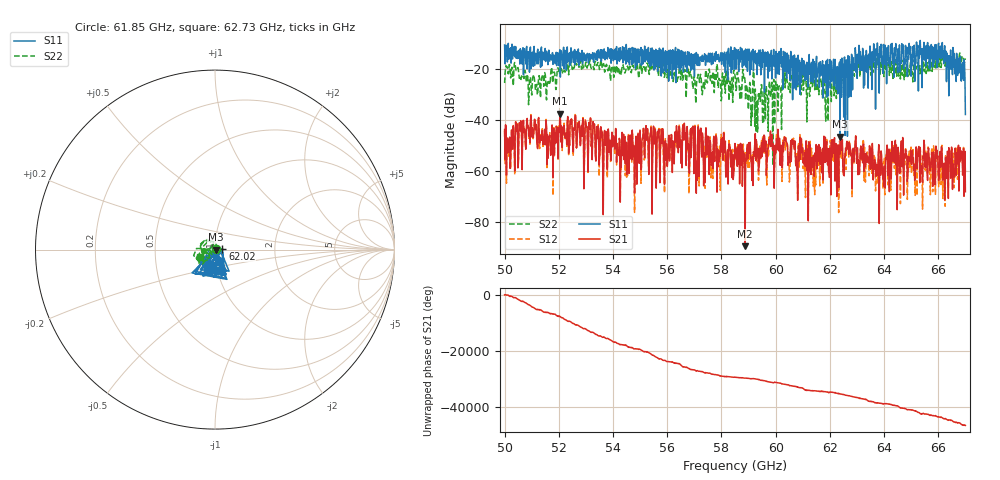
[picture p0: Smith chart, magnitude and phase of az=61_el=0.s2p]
!Created with skrf (http://scikit-rf.org).
# GHz S RI R 50.0
!freq ReS11 ImS11 ReS21 ImS21 ReS12 ImS12 ReS22 ImS22
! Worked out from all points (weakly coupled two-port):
!   1001 points, 50 GHz to 67 GHz, reference 50 ohm
!   highest |S21| = -37.64 dB at 52.04 GHz (marker M1); lowest = -89.7 dB at 58.87 GHz (marker M2)
!   lowest |S11| = -46.7 dB at 62.38 GHz (marker M3), VSWR 1.01, Z = 50.5 - j0.0246 ohm
!   |S11| at or under -10 dB: 50.14 GHz to 63.75 GHz (13.62 GHz wide, 23.9 % of centre); 64.3 GHz to 64.93 GHz (628.8 MHz wide, 0.973 % of centre); 66.15 GHz to end of sweep (the widest 3 of 11)
!   |S22| runs from -57.8 to -13.7 dB; largest |S21 - S12| = 0.0025
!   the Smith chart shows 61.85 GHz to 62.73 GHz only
!   S11 on the Smith chart (normalised r, x): 61.85 GHz: 0.91, -0.18; 62.02 GHz: 1.09, +0.01; 62.73 GHz: 1.04, -0.24
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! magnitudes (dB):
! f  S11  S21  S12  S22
! 50 GHz  -10.6  -43.8  -44.4  -25.5
! 52.04 GHz  -12.5  -37.6  -37.7  -21.4
! 52.84 GHz  -14.3  -42.2  -42.6  -20.1
! 54.22 GHz  -11.9  -54.0  -52.4  -20.2
! 55.68 GHz  -14.2  -43.7  -44.1  -22.9
! 56.94 GHz  -14.3  -44.9  -45.7  -26.3
! 57.04 GHz  -15.8  -49.3  -49.6  -29.6
! 57.23 GHz  -16.6  -45.3  -45.7  -22.1
! 58.5 GHz  -20.1  -49.3  -50.1  -22.9
! 58.87 GHz  -15.5  -89.7  -65.1  -25.6
! 59.32 GHz  -22.2  -54.5  -56.5  -33.5
! 60.35 GHz  -20.8  -48.0  -51.9  -27.4
! 61.34 GHz  -24.3  -58.4  -57.5  -24.4
! 61.85 GHz  -19.7  -56.4  -54.5  -40.5
! 62.02 GHz  -27.5  -53.7  -48.1  -26.0
! 62.38 GHz  -46.7  -53.5  -54.5  -18.2
! 62.73 GHz  -18.4  -49.9  -48.3  -20.6
! 63.91 GHz  -16.6  -53.6  -56.9  -19.4
! 64.18 GHz  -18.0  -51.6  -55.1  -18.6
! 66.08 GHz  -15.8  -58.6  -62.8  -15.2
! 66.9 GHz  -17.6  -61.7  -57.3  -15.2
! 67 GHz  -37.9  -68.3  -60.8  -15.9
